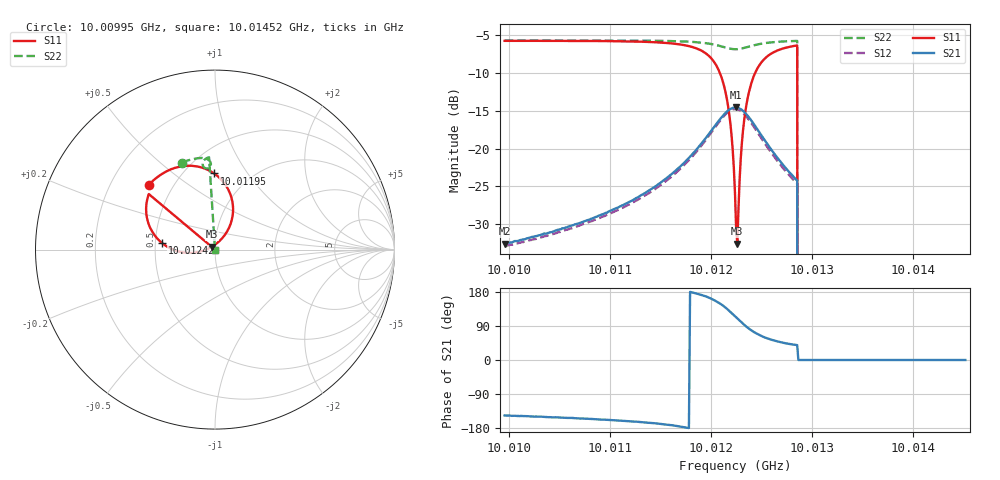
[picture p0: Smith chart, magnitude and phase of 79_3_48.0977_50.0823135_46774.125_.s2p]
#  HZ  S  RI  R  50.00
! Rohde & Schwarz Vector Network Analyzer
! Rohde-Schwarz,ZNB20-2Port,1311601062101988,3.16
! Created: UTC 12/23/2023, 3:42:35 AM
! freq[Hz]  re:S11  im:S11  re:S21  im:S21  re:S12  im:S12  re:S22  im:S22
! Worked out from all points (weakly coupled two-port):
!   401 points, 10.00995 GHz to 10.01452 GHz, reference 50 ohm
!   highest |S21| = -14.56 dB at 10.01225 GHz (marker M1); lowest = -32.6 dB at 10.00995 GHz (marker M2)
!   lowest |S11| = -32.6 dB at 10.01226 GHz (marker M3), VSWR 1.05, Z = 48.3 + j1.52 ohm
!   |S11| at or under -10 dB: 10.01209 GHz to 10.01244 GHz (349.2 kHz wide, 0.00349 % of centre); 10.01285 GHz to end of sweep
!   |S22| runs from - to -5.7 dB; largest |S21 - S12| = 0.009
!   S11 on the Smith chart (normalised r, x): 10.00995 GHz: 0.37, +0.36; 10.01195 GHz: 0.69, +0.71; 10.01242 GHz: 0.54, +0.04; 10.01452 GHz: 1.00, +0.00
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1.0009953e10  -0.3676 0.3624  -0.0195 -0.013  -0.0181 -0.0136  -0.1843 0.485
1.0010718e10  -0.3119 0.4106  -0.0294 -0.0141  -0.0276 -0.015  -0.135 0.5012
1.0011483e10  -0.2048 0.4604  -0.0573 -0.012  -0.0545 -0.0143  -0.0785 0.5105
1.0011951e10  -0.0056 0.4246  -0.1156 0.0256  -0.1135 0.0191  -0.0324 0.4967
1.0012065e10  0.0752 0.3323  -0.1328 0.069  -0.1329 0.0601  -0.0232 0.481
1.0012145e10  0.1003 0.2088  -0.128 0.1164  -0.13 0.1083  -0.0251 0.4653
1.001218e10  0.0874 0.1445  -0.1156 0.1389  -0.1191 0.1309  -0.0298 0.4588
1.0012202e10  0.0679 0.1021  -0.1037 0.1526  -0.1079 0.1446  -0.034 0.4554
1.0012237e10  0.0222 0.0452  -0.0806 0.1688  -0.0849 0.1617  -0.042 0.4525
1.0012248e10  0.00311 0.0293  -0.0721 0.1727  -0.076 0.166  -0.0448 0.4522
1.001226e10  -0.0175 0.0157  -0.0633 0.1754  -0.0669 0.1691  -0.0477 0.4523
1.0012271e10  -0.0393 0.00415  -0.0542 0.1775  -0.0574 0.1713  -0.0506 0.4526
1.0012305e10  -0.1082 -0.0162  -0.0264 0.1783  -0.0306 0.1721  -0.0582 0.4559
1.0012328e10  -0.1538 -0.0181  -0.00907 0.1747  -0.0138 0.1687  -0.0621 0.4593
1.0012362e10  -0.2161 -0.00652  0.0136 0.1644  0.00798 0.159  -0.0665 0.4657
1.0012419e10  -0.2953 0.0366  0.0389 0.1413  0.0328 0.1369  -0.0689 0.4771
1.0012568e10  -0.3772 0.1682  0.0586 0.0867  0.0525 0.085  -0.0601 0.4986
1.001283e10  -0.3713 0.3023  0.0486 0.0411  0.0447 0.0409  -0.0353 0.514
1.0012888e10  0 0  0 0  0 0  0 0
1.0013002e10  0 0  0 0  0 0  0 0
1.0013767e10  0 0  0 0  0 0  0 0
1.001452e10  0 0  0 0  0 0  0 0
